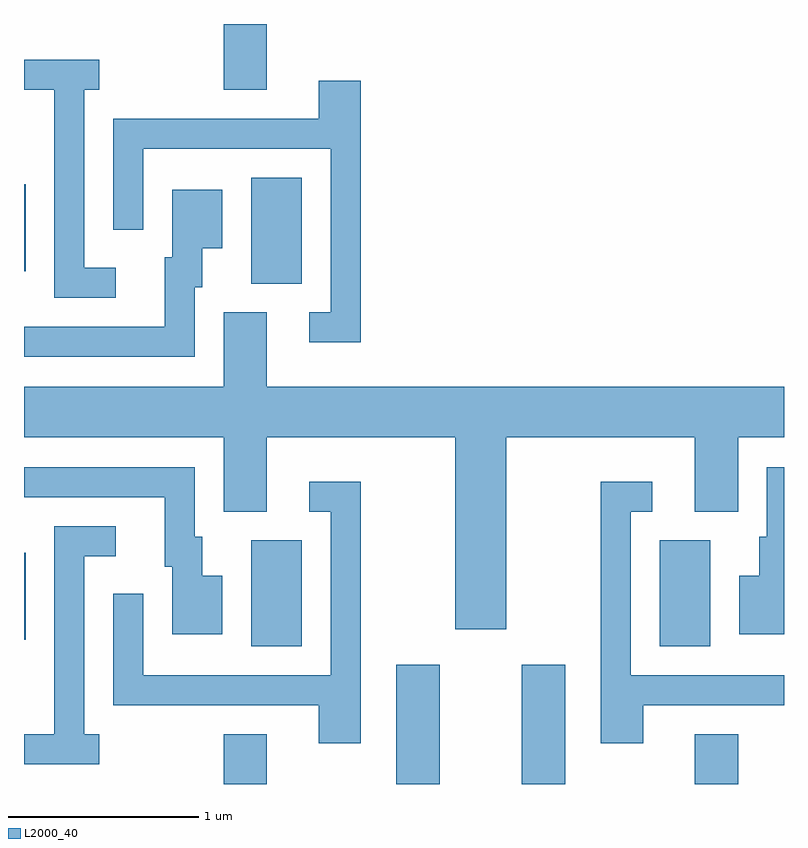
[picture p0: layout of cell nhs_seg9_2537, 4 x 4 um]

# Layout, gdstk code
import gdstk
lib = gdstk.Library(unit=1e-6, precision=1e-09)
def R(c, l, rs):  # rectangles x0, y0, x1, y1
    for r in rs: c.add(gdstk.rectangle(r[:2], r[2:], *l))
def P(c, l, *ps):  # polygons
    for p in ps: c.add(gdstk.Polygon(p, *l))
L2000_40 = (2000, 40)

nhs_seg9_2537 = lib.new_cell('nhs_seg9_2537')
R(nhs_seg9_2537, L2000_40, [(260.661,1994.432,260.889,1994.694), (261.571,1994.432,261.799,1995.059), (262.231,1994.432,262.459,1995.059), (263.141,1994.432,263.369,1994.694), (260.806,1995.156,261.074,1995.714), (262.956,1995.156,263.224,1995.714), (259.611,1995.191,259.619,1995.649), (260.806,1997.066,261.074,1997.624), (259.611,1997.131,259.619,1997.589), (260.661,1998.086,260.889,1998.432)])
P(nhs_seg9_2537, L2000_40, [(260.093,1997.149),(259.929,1997.149),(259.929,1998.086),(260.008,1998.086),(260.008,1998.244),(259.611,1998.244),(259.611,1998.086),(259.771,1998.086),(259.771,1996.991),(260.093,1996.991)],
  [(261.384,1998.134),(261.161,1998.134),(261.161,1997.934),(260.081,1997.934),(260.081,1997.348),(260.239,1997.348),(260.239,1997.776),(261.226,1997.776),(261.226,1996.914),(261.113,1996.914),(261.113,1996.756),(261.384,1996.756)],
  [(260.509,1997.046),(260.549,1997.046),(260.549,1997.251),(260.654,1997.251),(260.654,1997.559),(260.391,1997.559),(260.391,1997.204),(260.351,1997.204),(260.351,1996.839),(259.611,1996.839),(259.611,1996.681),(260.509,1996.681)],
  [(262.149,1996.256),(263.141,1996.256),(263.141,1995.866),(263.369,1995.866),(263.369,1996.256),(263.611,1996.256),(263.611,1996.524),(260.889,1996.524),(260.889,1996.914),(260.661,1996.914),(260.661,1996.524),(259.611,1996.524),(259.611,1996.256),(260.661,1996.256),(260.661,1995.866),(260.889,1995.866),(260.889,1996.256),(261.881,1996.256),(261.881,1995.246),(262.149,1995.246)],
  [(263.611,1996.099),(263.521,1996.099),(263.521,1995.734),(263.481,1995.734),(263.481,1995.529),(263.376,1995.529),(263.376,1995.221),(263.611,1995.221)],
  [(260.654,1995.529),(260.549,1995.529),(260.549,1995.734),(260.509,1995.734),(260.509,1996.099),(259.611,1996.099),(259.611,1995.941),(260.351,1995.941),(260.351,1995.576),(260.391,1995.576),(260.391,1995.221),(260.654,1995.221)],
  [(262.869,1994.846),(263.611,1994.846),(263.611,1995.004),(262.804,1995.004),(262.804,1995.866),(262.918,1995.866),(262.918,1996.024),(262.646,1996.024),(262.646,1994.646),(262.869,1994.646)],
  [(261.384,1996.024),(261.113,1996.024),(261.113,1995.866),(261.226,1995.866),(261.226,1995.004),(260.239,1995.004),(260.239,1995.433),(260.081,1995.433),(260.081,1994.846),(261.161,1994.846),(261.161,1994.646),(261.384,1994.646)],
  [(260.008,1994.694),(259.929,1994.694),(259.929,1995.631),(260.093,1995.631),(260.093,1995.789),(259.771,1995.789),(259.771,1994.694),(259.611,1994.694),(259.611,1994.536),(260.008,1994.536)])

lib.write_gds('nhs_seg9_2537.gds')
